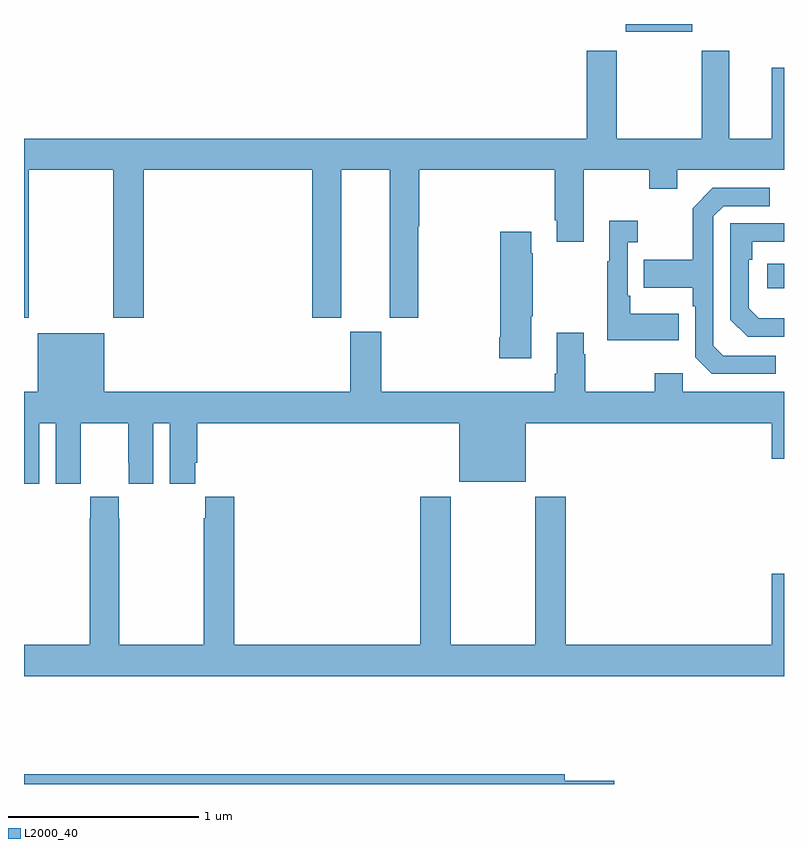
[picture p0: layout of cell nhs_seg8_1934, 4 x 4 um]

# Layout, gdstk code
import gdstk
lib = gdstk.Library(unit=1e-6, precision=1e-09)
def R(c, l, rs):  # rectangles x0, y0, x1, y1
    for r in rs: c.add(gdstk.rectangle(r[:2], r[2:], *l))
def P(c, l, *ps):  # polygons
    for p in ps: c.add(gdstk.Polygon(p, *l))
L2000_40 = (2000, 40)

nhs_seg8_1934 = lib.new_cell('nhs_seg8_1934')
R(nhs_seg8_1934, L2000_40, [(236.913,1150.508,237,1150.638), (236.168,1151.858,236.518,1151.9)])
P(nhs_seg8_1934, L2000_40, [(233.025,1151.132),(233.47,1151.132),(233.47,1150.353),(233.63,1150.353),(233.63,1151.132),(234.518,1151.132),(234.518,1150.353),(234.67,1150.353),(234.67,1151.132),(234.926,1151.132),(234.926,1150.353),(235.074,1150.353),(235.074,1150.836),(235.079,1150.836),(235.079,1151.132),(235.793,1151.132),(235.793,1150.867),(235.805,1150.867),(235.805,1150.755),(235.945,1150.755),(235.945,1151.132),(236.29,1151.132),(236.29,1151.033),(236.437,1151.033),(236.437,1151.132),(237,1151.132),(237,1151.671),(236.936,1151.671),(236.936,1151.296),(236.713,1151.296),(236.713,1151.758),(236.566,1151.758),(236.566,1151.296),(236.121,1151.296),(236.121,1151.758),(235.961,1151.758),(235.961,1151.296),(233,1151.296),(233,1150.353),(233.025,1150.353)],
  [(236.956,1150.155),(236.679,1150.155),(236.628,1150.206),(236.628,1150.887),(236.682,1150.941),(236.926,1150.941),(236.926,1151.037),(236.625,1151.037),(236.52,1150.931),(236.52,1150.659),(236.263,1150.659),(236.263,1150.511),(236.52,1150.511),(236.52,1150.415),(236.532,1150.415),(236.532,1150.146),(236.619,1150.059),(236.956,1150.059)],
  [(236.447,1150.375),(236.191,1150.375),(236.191,1150.471),(236.178,1150.471),(236.178,1150.751),(236.23,1150.751),(236.23,1150.864),(236.081,1150.864),(236.081,1150.651),(236.07,1150.651),(236.07,1150.235),(236.447,1150.235)],
  [(237,1150.351),(236.867,1150.351),(236.814,1150.404),(236.814,1150.658),(236.834,1150.658),(236.834,1150.755),(237,1150.755),(237,1150.851),(236.718,1150.851),(236.718,1150.344),(236.808,1150.254),(237,1150.254)],
  [(235.669,1150.363),(235.677,1150.363),(235.677,1150.694),(235.669,1150.694),(235.669,1150.807),(235.507,1150.807),(235.507,1150.252),(235.502,1150.252),(235.502,1150.14),(235.669,1150.14)],
  [(233.08,1149.8),(233.168,1149.8),(233.168,1149.48),(233.298,1149.48),(233.298,1149.592),(233.299,1149.592),(233.299,1149.8),(233.549,1149.8),(233.549,1149.592),(233.55,1149.592),(233.55,1149.48),(233.68,1149.48),(233.68,1149.8),(233.768,1149.8),(233.768,1149.48),(233.902,1149.48),(233.902,1149.592),(233.912,1149.592),(233.912,1149.8),(235.292,1149.8),(235.292,1149.491),(235.642,1149.491),(235.642,1149.8),(236.936,1149.8),(236.936,1149.612),(237,1149.612),(237,1149.964),(236.466,1149.964),(236.466,1150.063),(236.32,1150.063),(236.32,1149.964),(235.953,1149.964),(235.953,1150.163),(235.945,1150.163),(235.945,1150.276),(235.805,1150.276),(235.805,1150.06),(235.793,1150.06),(235.793,1149.964),(234.88,1149.964),(234.88,1150.281),(234.716,1150.281),(234.716,1149.964),(233.422,1149.964),(233.422,1150.273),(233.072,1150.273),(233.072,1149.964),(233,1149.964),(233,1149.48),(233.08,1149.48)],
  [(237,1149.007),(236.936,1149.007),(236.936,1148.632),(235.85,1148.632),(235.85,1149.412),(235.69,1149.412),(235.69,1148.632),(235.245,1148.632),(235.245,1149.412),(235.085,1149.412),(235.085,1148.632),(234.107,1148.632),(234.107,1149.412),(233.953,1149.412),(233.953,1149.299),(233.947,1149.299),(233.947,1148.632),(233.502,1148.632),(233.502,1149.299),(233.499,1149.299),(233.499,1149.412),(233.349,1149.412),(233.349,1149.299),(233.347,1149.299),(233.347,1148.632),(233,1148.632),(233,1148.468),(237,1148.468)],
  [(236.107,1147.916),(235.846,1147.916),(235.846,1147.952),(233,1147.952),(233,1147.9),(236.107,1147.9)])

lib.write_gds('nhs_seg8_1934.gds')
